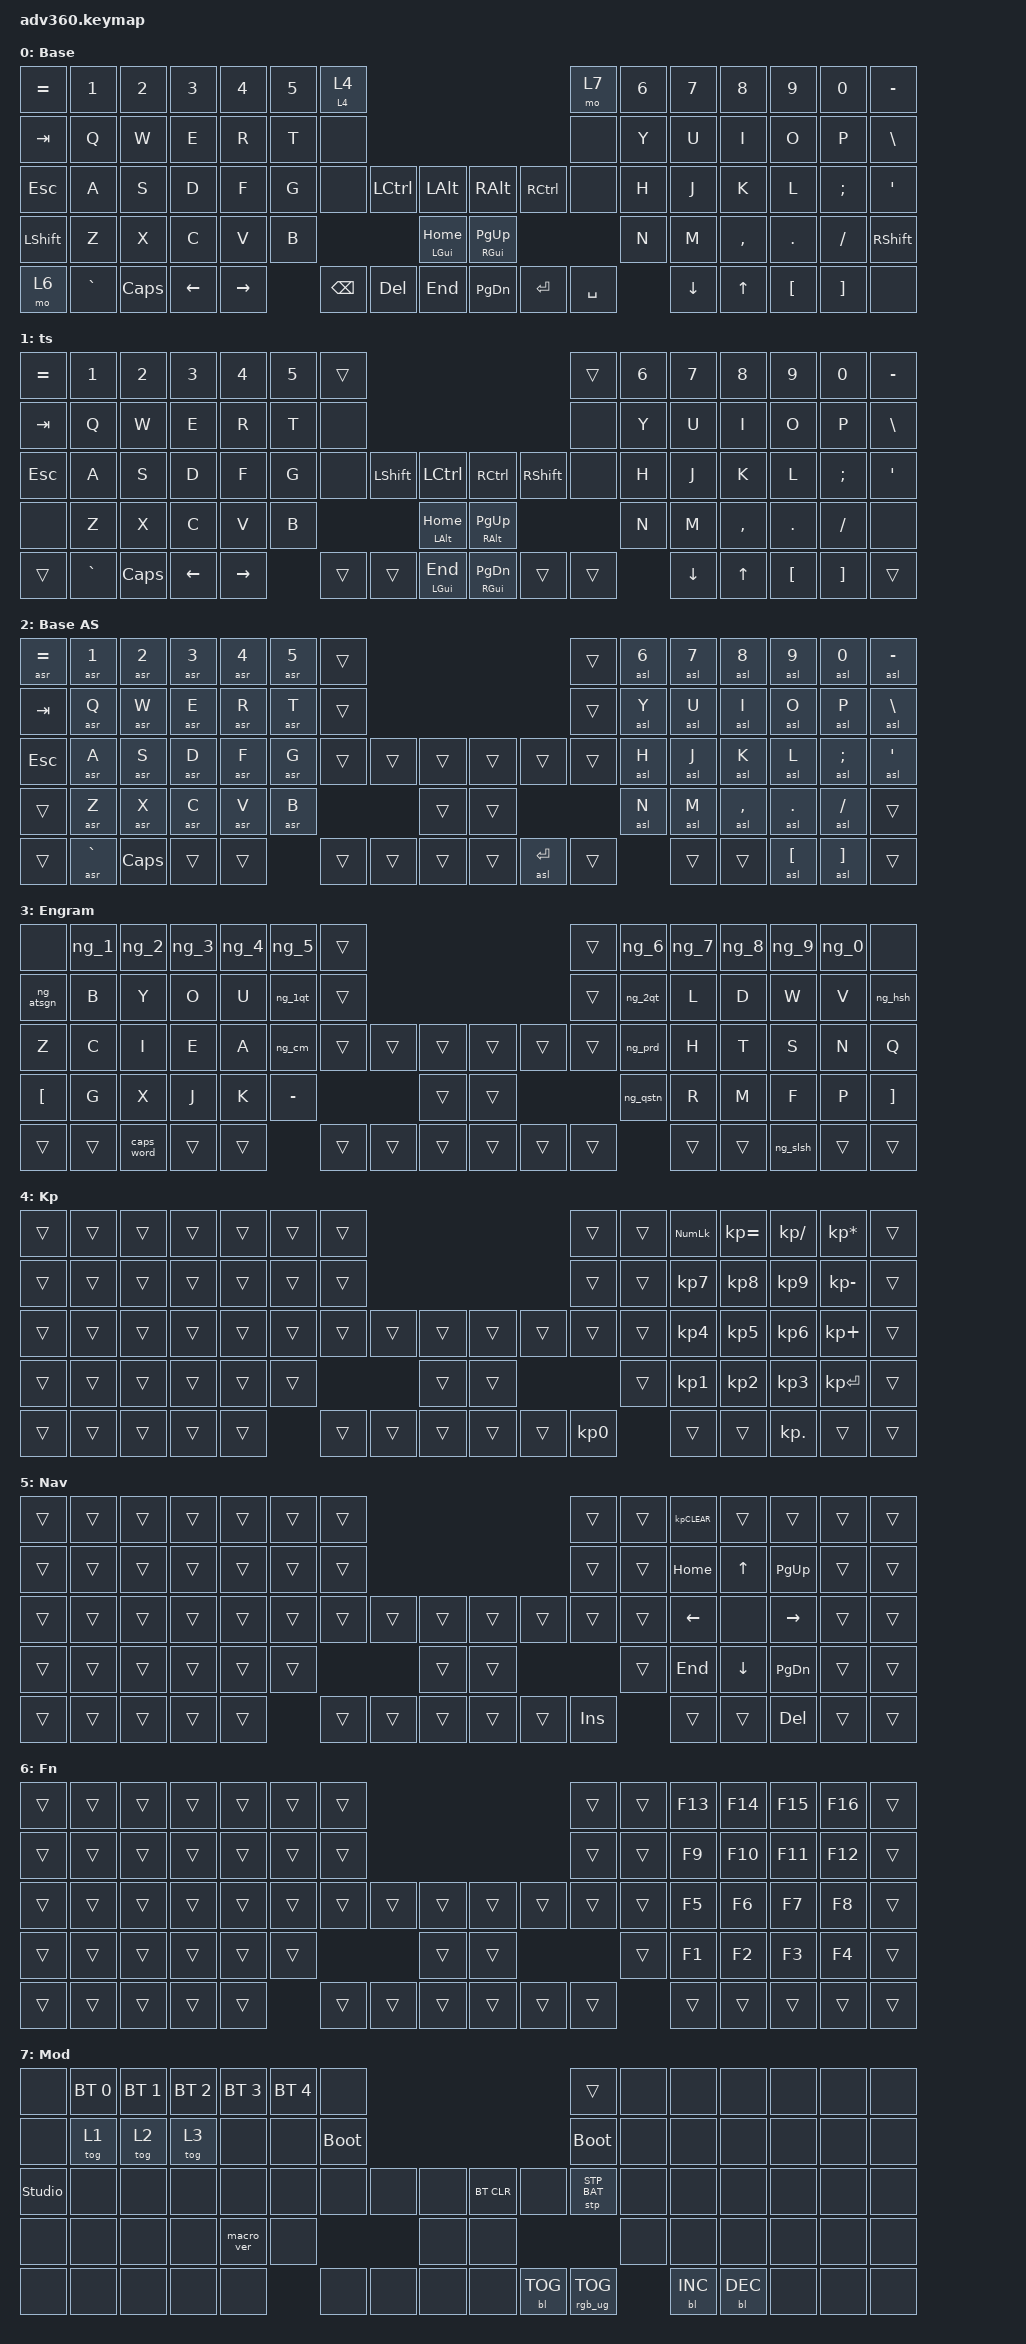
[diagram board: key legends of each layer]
#include <dt-bindings/zmk/stp.h>
#include <behaviors.dtsi>
#include <dt-bindings/zmk/backlight.h>
#include <dt-bindings/zmk/bt.h>
#include <dt-bindings/zmk/keys.h>
#include <dt-bindings/zmk/rgb.h>

/ {
    behaviors {
        #include "macros.dtsi"
        #include "version.dtsi"

        asl_ht: autoshift_left_hold_tap {
            compatible = "zmk,behavior-hold-tap";
            label = "AUTOSHIFT_LEFT_HOLD_TAP";
            #binding-cells = <2>;
            tapping-term-ms = <260>;
            flavor = "tap-preferred";
            bindings = <&ls>, <&kp>;

            quick-tap-ms = <260>;
        };

        asr_ht: autoshift_right_hold_tap {
            compatible = "zmk,behavior-hold-tap";
            label = "AUTOSHIFT_RIGHT_HOLD_TAP";
            #binding-cells = <2>;
            tapping-term-ms = <260>;
            flavor = "tap-preferred";
            bindings = <&rs>, <&kp>;

            quick-tap-ms = <260>;
        };

        mo_tog: mo_tog {
            compatible = "zmk,behavior-hold-tap";
            label = "MO_TOG";
            bindings = <&mo>, <&tog>;

            #binding-cells = <2>;
            tapping-term-ms = <260>;
        };

        ng_1: engram_1 {
            compatible = "zmk,behavior-mod-morph";
            label = "ENGRAM_1";
            bindings = <&kp NUMBER_1>, <&kp PIPE>;

            #binding-cells = <0>;
            mods = <(MOD_LSFT|MOD_RSFT)>;
        };

        ng_2: engram_2 {
            compatible = "zmk,behavior-mod-morph";
            label = "ENGRAM_2";
            bindings = <&kp NUMBER_2>, <&kp EQUAL>;

            #binding-cells = <0>;
            mods = <(MOD_LSFT|MOD_RSFT)>;
        };

        ng_3: engram_3 {
            compatible = "zmk,behavior-mod-morph";
            label = "ENGRAM_3";
            bindings = <&kp NUMBER_3>, <&kp TILDE>;

            #binding-cells = <0>;
            mods = <(MOD_LSFT|MOD_RSFT)>;
        };

        ng_4: engram_4 {
            compatible = "zmk,behavior-mod-morph";
            label = "ENGRAM_4";
            bindings = <&kp NUMBER_4>, <&kp PLUS>;

            #binding-cells = <0>;
            mods = <(MOD_LSFT|MOD_RSFT)>;
        };

        ng_5: engram_5 {
            compatible = "zmk,behavior-mod-morph";
            label = "ENGRAM_5";
            bindings = <&kp NUMBER_5>, <&kp LESS_THAN>;

            #binding-cells = <0>;
            mods = <(MOD_LSFT|MOD_RSFT)>;
        };

        ng_6: engram_6 {
            compatible = "zmk,behavior-mod-morph";
            label = "ENGRAM_6";
            bindings = <&kp NUMBER_6>, <&kp GREATER_THAN>;

            #binding-cells = <0>;
            mods = <(MOD_LSFT|MOD_RSFT)>;
        };

        ng_7: engram_7 {
            compatible = "zmk,behavior-mod-morph";
            label = "ENGRAM_7";
            bindings = <&kp NUMBER_7>, <&kp CARET>;

            #binding-cells = <0>;
            mods = <(MOD_LSFT|MOD_RSFT)>;
        };

        ng_8: engram_8 {
            compatible = "zmk,behavior-mod-morph";
            label = "ENGRAM_8";
            bindings = <&kp NUMBER_8>, <&kp AMPERSAND>;

            #binding-cells = <0>;
            mods = <(MOD_LSFT|MOD_RSFT)>;
        };

        ng_9: engram_9 {
            compatible = "zmk,behavior-mod-morph";
            label = "ENGRAM_9";
            bindings = <&kp NUMBER_9>, <&kp PERCENT>;

            #binding-cells = <0>;
            mods = <(MOD_LSFT|MOD_RSFT)>;
        };

        ng_0: engram_0 {
            compatible = "zmk,behavior-mod-morph";
            label = "ENGRAM_0";
            bindings = <&kp NUMBER_0>, <&kp ASTERISK>;

            #binding-cells = <0>;
            mods = <(MOD_LSFT|MOD_RSFT)>;
        };

        ng_1qt: engram_single_quote {
            compatible = "zmk,behavior-mod-morph";
            label = "ENGRAM_SINGLE_QUOTE";
            bindings = <&kp SINGLE_QUOTE>, <&kp LEFT_PARENTHESIS>;

            #binding-cells = <0>;
            mods = <(MOD_LSFT|MOD_RSFT)>;
        };

        ng_2qt: engram_double_quotes {
            compatible = "zmk,behavior-mod-morph";
            label = "ENGRAM_DOUBLE_QUOTES";
            bindings = <&kp DOUBLE_QUOTES>, <&kp RIGHT_PARENTHESIS>;

            #binding-cells = <0>;
            mods = <(MOD_LSFT|MOD_RSFT)>;
        };

        ng_cm: engram_comma {
            compatible = "zmk,behavior-mod-morph";
            label = "ENGRAM_COMMA";
            bindings = <&kp COMMA>, <&kp SEMICOLON>;

            #binding-cells = <0>;
            mods = <(MOD_LSFT|MOD_RSFT)>;
        };

        ng_prd: engram_period {
            compatible = "zmk,behavior-mod-morph";
            label = "ENGRAM_PERIOD";
            bindings = <&kp PERIOD>, <&kp COLON>;

            #binding-cells = <0>;
            mods = <(MOD_LSFT|MOD_RSFT)>;
        };

        ng_qstn: engram_question {
            compatible = "zmk,behavior-mod-morph";
            label = "ENGRAM_QUESTION";
            bindings = <&kp QUESTION>, <&kp EXCLAMATION>;

            #binding-cells = <0>;
            mods = <(MOD_LSFT|MOD_RSFT)>;
        };

        ng_hsh: engram_hash {
            compatible = "zmk,behavior-mod-morph";
            label = "ENGRAM_HASH";
            bindings = <&kp HASH>, <&kp DOLLAR>;

            #binding-cells = <0>;
            mods = <(MOD_LSFT|MOD_RSFT)>;
        };

        ng_atsgn: engram_at_sign {
            compatible = "zmk,behavior-mod-morph";
            label = "ENGRAM_AT_SIGN";
            bindings = <&kp AT_SIGN>, <&kp GRAVE>;

            #binding-cells = <0>;
            mods = <(MOD_LSFT|MOD_RSFT)>;
        };

        ng_slsh: engram_slash {
            compatible = "zmk,behavior-mod-morph";
            label = "ENGRAM_SLASH";
            bindings = <&kp SLASH>, <&kp BACKSLASH>;

            #binding-cells = <0>;
            mods = <(MOD_LSFT|MOD_RSFT)>;
        };
    };

    macros {
        ls: macro_left_shift {
            compatible = "zmk,behavior-macro-one-param";
            #binding-cells = <1>;
            bindings =
                <&macro_press>,
                <&kp LSHFT>,
                <&macro_tap>,
                <&macro_param_1to1 &kp MACRO_PLACEHOLDER>,
                <&macro_release>,
                <&kp LSHFT>;

            label = "MACRO_LEFT_SHIFT";
        };

        rs: macro_right_shift {
            compatible = "zmk,behavior-macro-one-param";
            #binding-cells = <1>;
            bindings =
                <&macro_press>,
                <&kp RSHFT>,
                <&macro_tap>,
                <&macro_param_1to1 &kp MACRO_PLACEHOLDER>,
                <&macro_release>,
                <&kp RSHFT>;

            label = "MACRO_RIGHT_SHIFT";
        };

        asl: autoshift_left {
            compatible = "zmk,behavior-macro-one-param";
            #binding-cells = <1>;
            bindings =
                <&macro_press>,
                <&macro_param_1to1 &macro_param_1to2 &asl_ht MACRO_PLACEHOLDER MACRO_PLACEHOLDER>,
                <&macro_pause_for_release>,
                <&macro_release>,
                <&macro_param_1to1 &macro_param_1to2 &asl_ht MACRO_PLACEHOLDER MACRO_PLACEHOLDER>;

            label = "AUTOSHIFT_LEFT";
        };

        asr: autoshift_right {
            compatible = "zmk,behavior-macro-one-param";
            #binding-cells = <1>;
            bindings =
                <&macro_press>,
                <&macro_param_1to1 &macro_param_1to2 &asr_ht MACRO_PLACEHOLDER MACRO_PLACEHOLDER>,
                <&macro_pause_for_release>,
                <&macro_release>,
                <&macro_param_1to1 &macro_param_1to2 &asr_ht MACRO_PLACEHOLDER MACRO_PLACEHOLDER>;

            label = "AUTOSHIFT_RIGHT";
        };
    };

    keymap {
        compatible = "zmk,keymap";

        default_layer {
            display-name = "Base";
            bindings = <
&kp EQUAL  &kp N1     &kp N2    &kp N3    &kp N4     &kp N5  &mo_tog 4 4                                                           &mo 7      &kp N6  &kp N7    &kp N8        &kp N9    &kp N0    &kp MINUS
&kp TAB    &kp Q      &kp W     &kp E     &kp R      &kp T   &none                                                                 &none      &kp Y   &kp U     &kp I         &kp O     &kp P     &kp BSLH
&kp ESC    &kp A      &kp S     &kp D     &kp F      &kp G   &none        &kp LCTRL  &kp LALT           &kp RALT        &kp RCTRL  &none      &kp H   &kp J     &kp K         &kp L     &kp SEMI  &kp SQT
&kp LSHFT  &kp Z      &kp X     &kp C     &kp V      &kp B                           &mt LGUI HOME      &mt RGUI PG_UP                        &kp N   &kp M     &kp COMMA     &kp DOT   &kp FSLH  &kp RSHFT
&mo 6      &kp GRAVE  &kp CAPS  &kp LEFT  &kp RIGHT          &kp BSPC     &kp DEL    &kp END            &kp PG_DN       &kp ENTER  &kp SPACE          &kp DOWN  &kp UP_ARROW  &kp LBKT  &kp RBKT  &none
            >;
        };

        thumb_shift {
            display-name = "ts";
            bindings = <
&kp EQUAL  &kp N1     &kp N2    &kp N3    &kp N4     &kp N5  &trans                                                           &trans  &kp N6  &kp N7    &kp N8        &kp N9    &kp N0    &kp MINUS
&kp TAB    &kp Q      &kp W     &kp E     &kp R      &kp T   &none                                                            &none   &kp Y   &kp U     &kp I         &kp O     &kp P     &kp BSLH
&kp ESC    &kp A      &kp S     &kp D     &kp F      &kp G   &none   &kp LSHFT  &kp LCTRL          &kp RCTRL       &kp RSHFT  &none   &kp H   &kp J     &kp K         &kp L     &kp SEMI  &kp SQT
&none      &kp Z      &kp X     &kp C     &kp V      &kp B                      &mt LALT HOME      &mt RALT PG_UP                     &kp N   &kp M     &kp COMMA     &kp DOT   &kp FSLH  &none
&trans     &kp GRAVE  &kp CAPS  &kp LEFT  &kp RIGHT          &trans  &trans     &mt LGUI END       &mt RGUI PG_DN  &trans     &trans          &kp DOWN  &kp UP_ARROW  &kp LBKT  &kp RBKT  &trans
            >;
        };

        default_layer_as {
            display-name = "Base AS";
            bindings = <
&asr EQUAL  &asr N1     &asr N2   &asr N3  &asr N4  &asr N5  &trans                                          &trans  &asl N6  &asl N7  &asl N8     &asl N9    &asl N0    &asl MINUS
&kp TAB     &asr Q      &asr W    &asr E   &asr R   &asr T   &trans                                          &trans  &asl Y   &asl U   &asl I      &asl O     &asl P     &asl BSLH
&kp ESC     &asr A      &asr S    &asr D   &asr F   &asr G   &trans  &trans  &trans      &trans  &trans      &trans  &asl H   &asl J   &asl K      &asl L     &asl SEMI  &asl SQT
&trans      &asr Z      &asr X    &asr C   &asr V   &asr B                   &trans      &trans                      &asl N   &asl M   &asl COMMA  &asl DOT   &asl FSLH  &trans
&trans      &asr GRAVE  &kp CAPS  &trans   &trans            &trans  &trans  &trans      &trans  &asl ENTER  &trans           &trans   &trans      &asl LBKT  &asl RBKT  &trans
            >;
        };

        engram {
            display-name = "Engram";
            bindings = <
&none      &ng_1   &ng_2       &ng_3   &ng_4   &ng_5      &trans                                      &trans  &ng_6     &ng_7   &ng_8   &ng_9     &ng_0   &none
&ng_atsgn  &kp B   &kp Y       &kp O   &kp U   &ng_1qt    &trans                                      &trans  &ng_2qt   &kp L   &kp D   &kp W     &kp V   &ng_hsh
&kp Z      &kp C   &kp I       &kp E   &kp A   &ng_cm     &trans  &trans  &trans      &trans  &trans  &trans  &ng_prd   &kp H   &kp T   &kp S     &kp N   &kp Q
&kp LBKT   &kp G   &kp X       &kp J   &kp K   &kp MINUS                  &trans      &trans                  &ng_qstn  &kp R   &kp M   &kp F     &kp P   &kp RBKT
&trans     &trans  &caps_word  &trans  &trans             &trans  &trans  &trans      &trans  &trans  &trans            &trans  &trans  &ng_slsh  &trans  &trans
            >;
        };

        keypad {
            display-name = "Kp";
            bindings = <
&trans  &trans  &trans  &trans  &trans  &trans  &trans                                      &trans     &trans  &kp KP_NUM  &kp KP_EQUAL  &kp KP_DIVIDE  &kp KP_MULTIPLY  &trans
&trans  &trans  &trans  &trans  &trans  &trans  &trans                                      &trans     &trans  &kp KP_N7   &kp KP_N8     &kp KP_N9      &kp KP_MINUS     &trans
&trans  &trans  &trans  &trans  &trans  &trans  &trans  &trans  &trans      &trans  &trans  &trans     &trans  &kp KP_N4   &kp KP_N5     &kp KP_N6      &kp KP_PLUS      &trans
&trans  &trans  &trans  &trans  &trans  &trans                  &trans      &trans                     &trans  &kp KP_N1   &kp KP_N2     &kp KP_N3      &kp KP_ENTER     &trans
&trans  &trans  &trans  &trans  &trans          &trans  &trans  &trans      &trans  &trans  &kp KP_N0          &trans      &trans        &kp KP_DOT     &trans           &trans
            >;
        };

        navigation {
            display-name = "Nav";
            bindings = <
&trans  &trans  &trans  &trans  &trans  &trans  &trans                                      &trans   &trans  &kp KP_CLEAR  &trans          &trans     &trans  &trans
&trans  &trans  &trans  &trans  &trans  &trans  &trans                                      &trans   &trans  &kp HOME      &kp UP          &kp PG_UP  &trans  &trans
&trans  &trans  &trans  &trans  &trans  &trans  &trans  &trans  &trans      &trans  &trans  &trans   &trans  &kp LEFT      &none           &kp RIGHT  &trans  &trans
&trans  &trans  &trans  &trans  &trans  &trans                  &trans      &trans                   &trans  &kp END       &kp DOWN_ARROW  &kp PG_DN  &trans  &trans
&trans  &trans  &trans  &trans  &trans          &trans  &trans  &trans      &trans  &trans  &kp INS          &trans        &trans          &kp DEL    &trans  &trans
            >;
        };

        fn {
            display-name = "Fn";
            bindings = <
&trans  &trans  &trans  &trans  &trans  &trans  &trans                                      &trans  &trans  &kp F13  &kp F14  &kp F15  &kp F16  &trans
&trans  &trans  &trans  &trans  &trans  &trans  &trans                                      &trans  &trans  &kp F9   &kp F10  &kp F11  &kp F12  &trans
&trans  &trans  &trans  &trans  &trans  &trans  &trans  &trans  &trans      &trans  &trans  &trans  &trans  &kp F5   &kp F6   &kp F7   &kp F8   &trans
&trans  &trans  &trans  &trans  &trans  &trans                  &trans      &trans                  &trans  &kp F1   &kp F2   &kp F3   &kp F4   &trans
&trans  &trans  &trans  &trans  &trans          &trans  &trans  &trans      &trans  &trans  &trans          &trans   &trans   &trans   &trans   &trans
            >;
        };

        mod {
            display-name = "Mod";
            bindings = <
&none           &bt BT_SEL 0  &bt BT_SEL 1  &bt BT_SEL 2  &bt BT_SEL 3  &bt BT_SEL 4  &none                                                  &trans           &none  &none       &none       &none  &none  &none
&none           &tog 1        &tog 2        &tog 3        &none         &none         &bootloader                                            &bootloader      &none  &none       &none       &none  &none  &none
&studio_unlock  &none         &none         &none         &none         &none         &none        &none  &none      &bt BT_CLR  &none       &stp STP_BAT     &none  &none       &none       &none  &none  &none
&none           &none         &none         &none         &macro_ver    &none                             &none      &none                                    &none  &none       &none       &none  &none  &none
&none           &none         &none         &none         &none                       &none        &none  &none      &none       &bl BL_TOG  &rgb_ug RGB_TOG         &bl BL_INC  &bl BL_DEC  &none  &none  &none
            >;
        };

        extra1 {
            display-name = "Red";
            status = "reserved";
        };

        extra2 {
            display-name = "Purple";
            status = "reserved";
        };

        extra3 {
            display-name = "Cyan";
            status = "reserved";
        };

        extra4 {
            display-name = "Yellow";
            status = "reserved";
        };
    };
};
